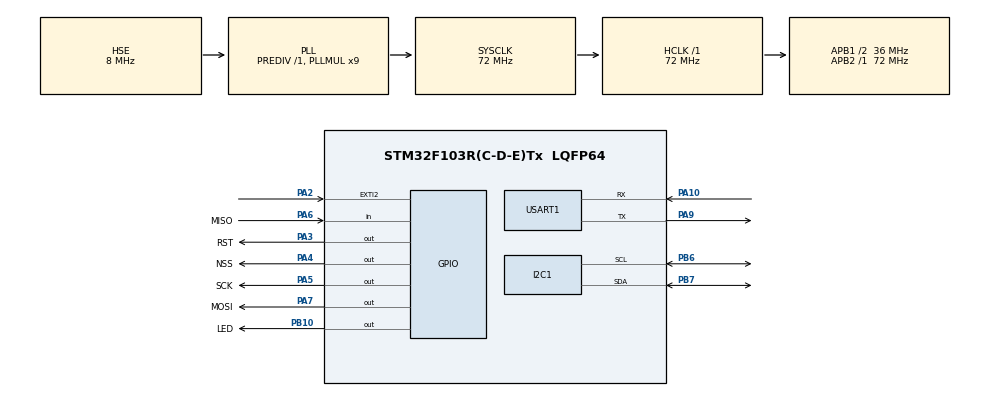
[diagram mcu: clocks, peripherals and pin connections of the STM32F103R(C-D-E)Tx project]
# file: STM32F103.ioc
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Dma.Request0=USART1_RX
Dma.Request1=USART1_TX
Dma.USART1_RX.0.Direction=DMA_PERIPH_TO_MEMORY
Dma.USART1_RX.0.Instance=DMA1_Channel5
Dma.USART1_RX.0.MemDataAlignment=DMA_MDATAALIGN_BYTE
Dma.USART1_RX.0.MemInc=DMA_MINC_ENABLE
Dma.USART1_RX.0.Mode=DMA_NORMAL
Dma.USART1_RX.0.PeriphDataAlignment=DMA_PDATAALIGN_BYTE
Dma.USART1_RX.0.PeriphInc=DMA_PINC_DISABLE
Dma.USART1_RX.0.Priority=DMA_PRIORITY_LOW
Dma.USART1_TX.1.Direction=DMA_MEMORY_TO_PERIPH
Dma.USART1_TX.1.Instance=DMA1_Channel4
Dma.USART1_TX.1.MemDataAlignment=DMA_MDATAALIGN_BYTE
Dma.USART1_TX.1.MemInc=DMA_MINC_ENABLE
Dma.USART1_TX.1.Mode=DMA_NORMAL
Dma.USART1_TX.1.PeriphDataAlignment=DMA_PDATAALIGN_BYTE
Dma.USART1_TX.1.PeriphInc=DMA_PINC_DISABLE
Dma.USART1_TX.1.Priority=DMA_PRIORITY_LOW
I2C1.I2C_Mode=I2C_Fast
I2C1.OwnAddress=0
Mcu.Family=STM32F1
Mcu.Name=STM32F103R(C-D-E)Tx
Mcu.Package=LQFP64
NVIC.DMA1_Channel4_IRQn=true\:0\:0\:false\:false\:true
NVIC.DMA1_Channel5_IRQn=true\:0\:0\:false\:false\:true
NVIC.EXTI2_IRQn=true\:1\:0\:true\:false\:true
NVIC.I2C1_ER_IRQn=true\:0\:0\:false\:false\:true
NVIC.I2C1_EV_IRQn=true\:0\:0\:false\:false\:true
NVIC.PriorityGroup=NVIC_PRIORITYGROUP_4
NVIC.USART1_IRQn=true\:0\:0\:false\:false\:true
PA10.Mode=Asynchronous
PA10.Signal=USART1_RX
PA13.Mode=JTAG_5_pins
PA13.Signal=SYS_JTMS-SWDIO
PA14.Mode=JTAG_5_pins
PA14.Signal=SYS_JTCK-SWCLK
PA15.Mode=JTAG_5_pins
PA15.Signal=SYS_JTDI
PA2.GPIO_ModeDefaultEXTI=GPIO_MODE_IT_RISING
PA2.GPIO_PuPd=GPIO_NOPULL
PA2.Signal=GPXTI2
PA3.GPIO_Label=RST
PA3.GPIO_ModeDefaultOutputPP=GPIO_MODE_OUTPUT_PP
PA3.GPIO_Speed=GPIO_SPEED_FREQ_LOW
PA3.PinState=GPIO_PIN_SET
PA3.Signal=GPIO_Output
PA4.GPIO_Label=NSS
PA4.GPIO_ModeDefaultOutputPP=GPIO_MODE_OUTPUT_PP
PA4.GPIO_Speed=GPIO_SPEED_FREQ_LOW
PA4.PinState=GPIO_PIN_SET
PA4.Signal=GPIO_Output
PA5.GPIO_Label=SCK
PA5.PinState=GPIO_PIN_SET
PA5.Signal=GPIO_Output
PA6.GPIO_Label=MISO
PA6.Signal=GPIO_Input
PA7.GPIO_Label=MOSI
PA7.PinState=GPIO_PIN_SET
PA7.Signal=GPIO_Output
PA9.Mode=Asynchronous
PA9.Signal=USART1_TX
PB10.GPIO_Label=LED
PB10.GPIO_ModeDefaultOutputPP=GPIO_MODE_OUTPUT_PP
PB10.GPIO_Speed=GPIO_SPEED_FREQ_LOW
PB10.PinState=GPIO_PIN_RESET
PB10.Signal=GPIO_Output
PB3.Mode=JTAG_5_pins
PB3.Signal=SYS_JTDO-TRACESWO
PB4.Mode=JTAG_5_pins
PB4.Signal=SYS_NJTRST
PB6.Mode=I2C
PB6.Signal=I2C1_SCL
PB7.Mode=I2C
PB7.Signal=I2C1_SDA
PD0-OSC_IN.Mode=HSE-External-Oscillator
PD0-OSC_IN.Signal=RCC_OSC_IN
PD1-OSC_OUT.Mode=HSE-External-Oscillator
PD1-OSC_OUT.Signal=RCC_OSC_OUT
ProjectManager.HeapSize=0x1000
ProjectManager.StackSize=0x400
ProjectManager.TargetToolchain=MDK-ARM V5
RCC.AHBFreq_Value=72000000
RCC.APB1CLKDivider=RCC_HCLK_DIV2
RCC.APB1Freq_Value=36000000
RCC.APB1TimFreq_Value=72000000
RCC.APB2Freq_Value=72000000
RCC.APB2TimFreq_Value=72000000
RCC.HCLKFreq_Value=72000000
RCC.HSIState=RCC_HSI_ON
RCC.PLLMUL=RCC_PLL_MUL9
RCC.PLLSourceVirtual=RCC_PLLSOURCE_HSE
RCC.SYSCLKFreq_VALUE=72000000
RCC.SYSCLKSource=RCC_SYSCLKSOURCE_PLLCLK
RCC.USBFreq_Value=72000000
board=STM32F103

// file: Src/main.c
/**
  ******************************************************************************
  * File Name          : main.c
  * Description        : Main program body
  ******************************************************************************
  *
  * COPYRIGHT(c) 2017 STMicroelectronics
  *
  * Redistribution and use in source and binary forms, with or without modification,
  * are permitted provided that the following conditions are met:
  *   1. Redistributions of source code must retain the above copyright notice,
  *      this list of conditions and the following disclaimer.
  *   2. Redistributions in binary form must reproduce the above copyright notice,
  *      this list of conditions and the following disclaimer in the documentation
  *      and/or other materials provided with the distribution.
  *   3. Neither the name of STMicroelectronics nor the names of its contributors
  *      may be used to endorse or promote products derived from this software
  *      without specific prior written permission.
  *
  * THIS SOFTWARE IS PROVIDED BY THE COPYRIGHT HOLDERS AND CONTRIBUTORS "AS IS"
  * AND ANY EXPRESS OR IMPLIED WARRANTIES, INCLUDING, BUT NOT LIMITED TO, THE
  * IMPLIED WARRANTIES OF MERCHANTABILITY AND FITNESS FOR A PARTICULAR PURPOSE ARE
  * DISCLAIMED. IN NO EVENT SHALL THE COPYRIGHT HOLDER OR CONTRIBUTORS BE LIABLE
  * FOR ANY DIRECT, INDIRECT, INCIDENTAL, SPECIAL, EXEMPLARY, OR CONSEQUENTIAL
  * DAMAGES (INCLUDING, BUT NOT LIMITED TO, PROCUREMENT OF SUBSTITUTE GOODS OR
  * SERVICES; LOSS OF USE, DATA, OR PROFITS; OR BUSINESS INTERRUPTION) HOWEVER
  * CAUSED AND ON ANY THEORY OF LIABILITY, WHETHER IN CONTRACT, STRICT LIABILITY,
  * OR TORT (INCLUDING NEGLIGENCE OR OTHERWISE) ARISING IN ANY WAY OUT OF THE USE
  * OF THIS SOFTWARE, EVEN IF ADVISED OF THE POSSIBILITY OF SUCH DAMAGE.
  *
  ******************************************************************************
  */
#include "main.h"
#include "stm32f1xx_hal.h"
#include "dma.h"
#include "i2c.h"
#include "usart.h"
#include "gpio.h"

/* USER CODE BEGIN Includes */
#include "TaskTimeManager.h"
#include "ProtocolFrame.h"
#include "ComBuff.h"
#include "MFRC522.h"

#define LED_ON() HAL_GPIO_WritePin(LED_GPIO_Port, LED_Pin, GPIO_PIN_RESET)
#define LED_OFF() HAL_GPIO_WritePin(LED_GPIO_Port, LED_Pin, GPIO_PIN_SET)
/* USER CODE END Includes */

/* USER CODE BEGIN PV */
/* Private variables ---------------------------------------------------------*/

/* USER CODE END PV */

void SystemClock_Config(void);
void Error_Handler(void);

/* USER CODE BEGIN PFP */
/* Private function prototypes -----------------------------------------------*/

/* USER CODE END PFP */

/* USER CODE BEGIN 0 */
void LED_TEST(void){
  static uint8_t seq = 0;
	//HAL_GPIO_WritePin(LED_GPIO_Port, LED_Pin, (GPIO_PinState)(seq%2));
  printf("LED_TEST:%d\r\n", seq++);
//	State_P_T state = {0};
//	state.para1 = 32;
//	Protocol_Send(REPORT_STATE, &state, sizeof(State_P_T));
}

unsigned char g_ucTempbuf[20];
void MFRC522_Run(void){
	PcdReset();
	PcdAntennaOff();
  PcdAntennaOn();
		printf("ModeReg_3D:%X\r\n",ReadRawRC(ModeReg));
		printf("TReloadRegL_30:%X\r\n",ReadRawRC(TReloadRegL));
		printf("TReloadRegH_0:%X\r\n",ReadRawRC(TReloadRegH));
		printf("TModeReg_8D:%X\r\n",ReadRawRC(TModeReg));
		printf("TPrescalerReg_3E:%X\r\n",ReadRawRC(TPrescalerReg));
	int8_t res = ReadRawRC(CWGsCfgReg);

	int8_t status = PcdRequest(PICC_REQALL, g_ucTempbuf);
	printf("0x%X��0x%X\r\n", res,status);
  if (status != MI_OK)
	{
		LED_OFF();
		return;
  }
	LED_ON();
}

void HAL_GPIO_EXTI_Callback(uint16_t GPIO_Pin){
	if(GPIO_Pin == GPIO_PIN_2){
		printf("�ж�\r\n");
	}
}
/* USER CODE END 0 */

int main(void)
{

  /* MCU Configuration----------------------------------------------------------*/

  /* Reset of all peripherals, Initializes the Flash interface and the Systick. */
  HAL_Init();

  /* Configure the system clock */
  SystemClock_Config();

  /* Initialize all configured peripherals */
  MX_GPIO_Init();
  MX_DMA_Init();
  MX_I2C1_Init();
  MX_USART1_UART_Init();

  /* USER CODE BEGIN 2 */
  TaskTime_Init();
  ProtocolFrame_Init();
  Log_Init();
  ComBuff_Init();
	LED_OFF();

	/*-----------���Ե�������-----------------*/
  TaskTime_Add(TaskID++, TimeCycle(0,500), LED_TEST, Real_Mode);
	/*-----------������������-----------------*/
  TaskTime_Add(TaskID++, TimeCycle(0,30), SenderKeepTransmit, Count_Mode);
	/*-----------Э���������-----------------*/
  TaskTime_Add(TaskID++, TimeCycle(0,30), PaddingProtocol, Real_Mode);
	/*-----------Э��ִ������-----------------*/
	TaskTime_Add(TaskID++, TimeCycle(0,30), FetchProtocols, Real_Mode);
	/*-----------ִ�ж���������-----------------*/
	TaskTime_Add(TaskID++, TimeCycle(1,0), MFRC522_Run, Real_Mode);
  /* USER CODE END 2 */

  /* Infinite loop */
  while (1)
  {

  /* USER CODE BEGIN 3 */
    TaskTime_Run();
  }
  /* USER CODE END 3 */

}

/** System Clock Configuration
*/
void SystemClock_Config(void)
{

  RCC_OscInitTypeDef RCC_OscInitStruct;
  RCC_ClkInitTypeDef RCC_ClkInitStruct;

    /**Initializes the CPU, AHB and APB busses clocks
    */
  RCC_OscInitStruct.OscillatorType = RCC_OSCILLATORTYPE_HSE;
  RCC_OscInitStruct.HSEState = RCC_HSE_ON;
  RCC_OscInitStruct.HSEPredivValue = RCC_HSE_PREDIV_DIV1;
  RCC_OscInitStruct.HSIState = RCC_HSI_ON;
  RCC_OscInitStruct.PLL.PLLState = RCC_PLL_ON;
  RCC_OscInitStruct.PLL.PLLSource = RCC_PLLSOURCE_HSE;
  RCC_OscInitStruct.PLL.PLLMUL = RCC_PLL_MUL9;
  if (HAL_RCC_OscConfig(&RCC_OscInitStruct) != HAL_OK)
  {
    Error_Handler();
  }

    /**Initializes the CPU, AHB and APB busses clocks
    */
  RCC_ClkInitStruct.ClockType = RCC_CLOCKTYPE_HCLK|RCC_CLOCKTYPE_SYSCLK
                              |RCC_CLOCKTYPE_PCLK1|RCC_CLOCKTYPE_PCLK2;
  RCC_ClkInitStruct.SYSCLKSource = RCC_SYSCLKSOURCE_PLLCLK;
  RCC_ClkInitStruct.AHBCLKDivider = RCC_SYSCLK_DIV1;
  RCC_ClkInitStruct.APB1CLKDivider = RCC_HCLK_DIV2;
  RCC_ClkInitStruct.APB2CLKDivider = RCC_HCLK_DIV1;

  if (HAL_RCC_ClockConfig(&RCC_ClkInitStruct, FLASH_LATENCY_2) != HAL_OK)
  {
    Error_Handler();
  }

    /**Configure the Systick interrupt time
    */
  HAL_SYSTICK_Config(HAL_RCC_GetHCLKFreq()/1000);

    /**Configure the Systick
    */
  HAL_SYSTICK_CLKSourceConfig(SYSTICK_CLKSOURCE_HCLK);

  /* SysTick_IRQn interrupt configuration */
  HAL_NVIC_SetPriority(SysTick_IRQn, 0, 0);
}

void Error_Handler(void)
{
  /* USER CODE BEGIN Error_Handler */
  /* User can add his own implementation to report the HAL error return state */
  while(1)
  {
    Log.error("Error_Handler");
  }
  /* USER CODE END Error_Handler */
}

/************************ (C) COPYRIGHT STMicroelectronics *****END OF FILE****/
